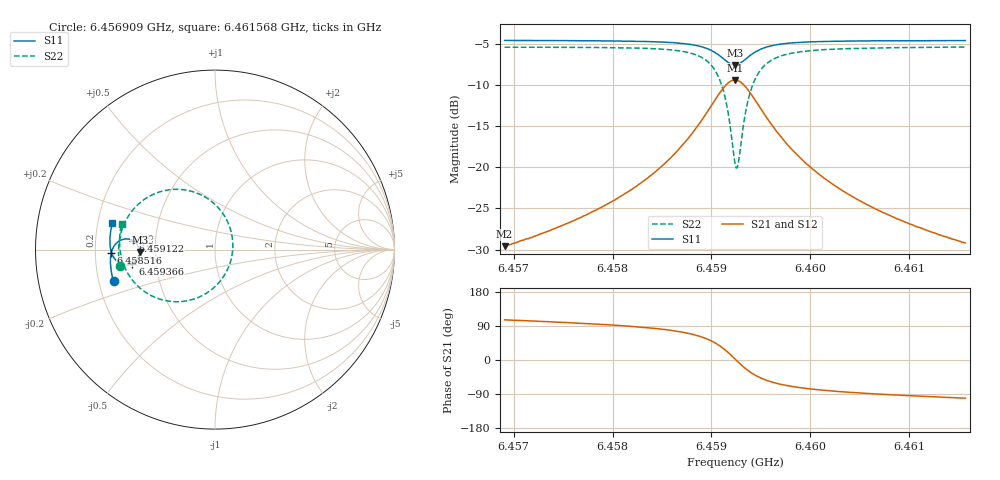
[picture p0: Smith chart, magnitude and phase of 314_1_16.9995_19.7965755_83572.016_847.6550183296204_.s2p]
#  HZ  S  RI  R  50.00
! Rohde & Schwarz Vector Network Analyzer
! Rohde-Schwarz,ZNB20-2Port,1311601062101988,3.16
! Created: UTC 3/20/2024, 11:06:07 PM
! freq[Hz]  re:S11  im:S11  re:S21  im:S21  re:S12  im:S12  re:S22  im:S22
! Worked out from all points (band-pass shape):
!   401 points, 6.456909 GHz to 6.461568 GHz, reference 50 ohm
!   highest |S21| = -9.36 dB at 6.459238 GHz (marker M1); lowest = -29.6 dB at 6.456909 GHz (marker M2)
!   |S21| within 3 dB of the highest: 6.459005 GHz to 6.459471 GHz (466.3 kHz wide, 0.00722 % of centre)
!   lowest |S11| = -7.5 dB at 6.459238 GHz (marker M3), VSWR 2.45, Z = 20.4 - j0.627 ohm
!   |S11| at or under -10 dB: nowhere
!   |S22| runs from -20.1 to -5.4 dB; largest |S21 - S12| = 0.013
!   S11 on the Smith chart (normalised r, x): 6.456909 GHz: 0.26, -0.14; 6.458516 GHz: 0.27, -0.02; 6.459122 GHz: 0.37, +0.05; 6.459366 GHz: 0.37, -0.07; 6.461568 GHz: 0.26, +0.12
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6.4569088e9  -0.5648 -0.1776  -0.00912 0.0319  -0.00739 0.0319  -0.5312 -0.0897
6.4576891e9  -0.5797 -0.1097  -0.00594 0.0494  -0.0034 0.049  -0.5371 0.000442
6.4581084e9  -0.583 -0.0681  -0.00039 0.0681  0.00289 0.0669  -0.5302 0.0654
6.4584695e9  -0.5797 -0.0253  0.0132 0.0973  0.0173 0.0947  -0.5052 0.1448
6.4585161e9  -0.5783 -0.0189  0.0166 0.1028  0.0206 0.0998  -0.4991 0.1578
6.4587257e9  -0.5664 0.0129  0.0423 0.1341  0.0465 0.1295  -0.4513 0.2286
6.4588771e9  -0.5455 0.0392  0.0842 0.1642  0.0877 0.1577  -0.3742 0.2921
6.4590285e9  -0.4998 0.0592  0.1749 0.1834  0.176 0.176  -0.2094 0.336
6.4591217e9  -0.4555 0.0494  0.2635 0.1529  0.2638 0.147  -0.046 0.2872
6.4591683e9  -0.4345 0.031  0.3067 0.1109  0.308 0.1055  0.0354 0.2127
6.4592382e9  -0.4196 -0.0126  0.3399 0.0156  0.3433 0.00844  0.0993 0.0366
6.4592498e9  -0.4201 -0.0206  0.3398 -0.00194  0.3434 -0.00955  0.0991 0.00383
6.4592731e9  -0.4235 -0.0359  0.3345 -0.036  0.338 -0.0452  0.0884 -0.0606
6.4593314e9  -0.4438 -0.0669  0.2972 -0.1072  0.2984 -0.1194  0.0131 -0.1936
6.4593663e9  -0.4604 -0.078  0.2654 -0.1359  0.2644 -0.1487  -0.0506 -0.2448
6.4594595e9  -0.5034 -0.0848  0.1822 -0.167  0.1761 -0.1781  -0.2155 -0.2904
6.4596109e9  -0.5468 -0.0646  0.0955 -0.1538  0.0872 -0.1598  -0.38 -0.2425
6.459774e9  -0.5683 -0.0369  0.0512 -0.1265  0.0437 -0.1292  -0.4589 -0.1719
6.4600185e9  -0.581 -0.00135  0.0223 -0.0957  0.0167 -0.0961  -0.5064 -0.0909
6.4603796e9  -0.5857 0.041  0.00612 -0.0686  0.00215 -0.0682  -0.528 -0.0105
6.4607989e9  -0.5838 0.0829  -0.00123 -0.0511  -0.00408 -0.0502  -0.5317 0.0552
6.4615676e9  -0.5715 0.1508  -0.00632 -0.0341  -0.00803 -0.0331  -0.5203 0.1447
